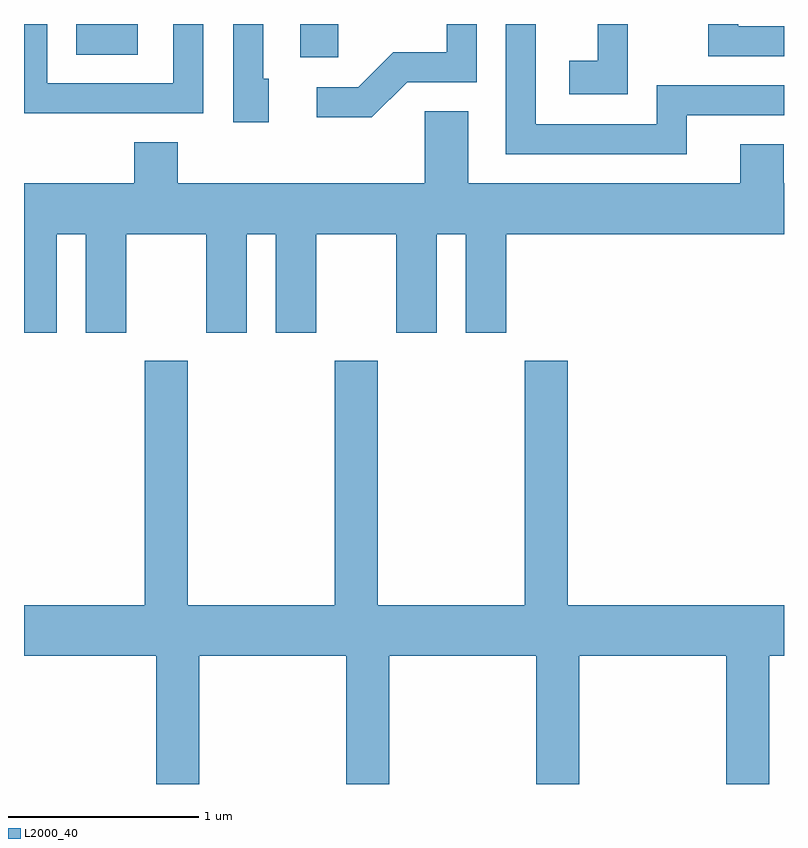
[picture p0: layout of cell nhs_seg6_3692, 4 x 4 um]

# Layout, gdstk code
import gdstk
lib = gdstk.Library(unit=1e-6, precision=1e-09)
def R(c, l, rs):  # rectangles x0, y0, x1, y1
    for r in rs: c.add(gdstk.rectangle(r[:2], r[2:], *l))
def P(c, l, *ps):  # polygons
    for p in ps: c.add(gdstk.Polygon(p, *l))
L2000_40 = (2000, 40)

nhs_seg6_3692 = lib.new_cell('nhs_seg6_3692')
R(nhs_seg6_3692, L2000_40, [(297.066,1641.986,297.264,1642.162), (295.886,1642.001,296.209,1642.162)])
P(nhs_seg6_3692, L2000_40, [(299.611,1642.149),(299.369,1642.149),(299.369,1642.162),(299.211,1642.162),(299.211,1641.991),(299.611,1641.991)],
  [(298.789,1642.162),(298.631,1642.162),(298.631,1641.969),(298.481,1641.969),(298.481,1641.791),(298.789,1641.791)],
  [(297.627,1641.856),(297.994,1641.856),(297.994,1642.162),(297.836,1642.162),(297.836,1642.014),(297.554,1642.014),(297.369,1641.829),(297.153,1641.829),(297.153,1641.671),(297.442,1641.671)],
  [(299.099,1641.681),(299.611,1641.681),(299.611,1641.839),(298.941,1641.839),(298.941,1641.634),(298.304,1641.634),(298.304,1642.162),(298.146,1642.162),(298.146,1641.476),(299.099,1641.476)],
  [(296.899,1641.874),(296.869,1641.874),(296.869,1642.162),(296.711,1642.162),(296.711,1641.646),(296.899,1641.646)],
  [(296.554,1642.162),(296.396,1642.162),(296.396,1641.849),(295.734,1641.849),(295.734,1642.162),(295.611,1642.162),(295.611,1641.691),(296.554,1641.691)],
  [(295.784,1641.056),(295.936,1641.056),(295.936,1640.536),(296.149,1640.536),(296.149,1641.056),(296.571,1641.056),(296.571,1640.536),(296.784,1640.536),(296.784,1641.056),(296.936,1641.056),(296.936,1640.536),(297.149,1640.536),(297.149,1641.056),(297.571,1641.056),(297.571,1640.536),(297.784,1640.536),(297.784,1641.056),(297.936,1641.056),(297.936,1640.536),(298.149,1640.536),(298.149,1641.056),(299.611,1641.056),(299.611,1641.324),(299.609,1641.324),(299.609,1641.529),(299.381,1641.529),(299.381,1641.324),(297.949,1641.324),(297.949,1641.704),(297.721,1641.704),(297.721,1641.324),(296.419,1641.324),(296.419,1641.539),(296.191,1641.539),(296.191,1641.324),(295.611,1641.324),(295.611,1640.536),(295.784,1640.536)],
  [(296.534,1638.836),(297.306,1638.836),(297.306,1638.162),(297.534,1638.162),(297.534,1638.836),(298.306,1638.836),(298.306,1638.162),(298.534,1638.162),(298.534,1638.836),(299.306,1638.836),(299.306,1638.162),(299.534,1638.162),(299.534,1638.836),(299.611,1638.836),(299.611,1639.104),(298.474,1639.104),(298.474,1640.389),(298.246,1640.389),(298.246,1639.104),(297.474,1639.104),(297.474,1640.389),(297.246,1640.389),(297.246,1639.104),(296.474,1639.104),(296.474,1640.389),(296.246,1640.389),(296.246,1639.104),(295.611,1639.104),(295.611,1638.836),(296.306,1638.836),(296.306,1638.162),(296.534,1638.162)])

lib.write_gds('nhs_seg6_3692.gds')
